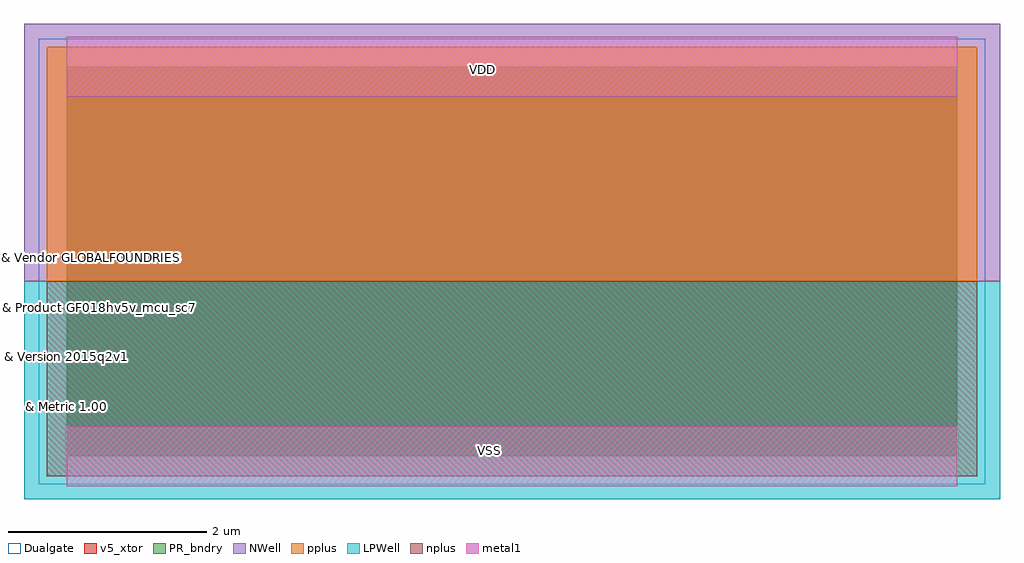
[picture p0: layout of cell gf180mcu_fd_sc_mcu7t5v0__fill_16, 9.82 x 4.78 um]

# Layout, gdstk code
import gdstk
lib = gdstk.Library(unit=1e-6, precision=1e-09)
def R(c, l, rs):  # rectangles x0, y0, x1, y1
    for r in rs: c.add(gdstk.rectangle(r[:2], r[2:], *l))
PR_bndry = (0, 0)
NWell = (21, 0)
pplus = (31, 0)
nplus = (32, 0)
metal1 = (34, 0)
Dualgate = (55, 0)
v5_xtor = (112, 1)
LPWell = (204, 0)

gf180mcu_fd_sc_mcu7t5v0_ = lib.new_cell('gf180mcu_fd_sc_mcu7t5v0__fill_16')
R(gf180mcu_fd_sc_mcu7t5v0_, PR_bndry, [(0,0,8.96,3.92)])
R(gf180mcu_fd_sc_mcu7t5v0_, NWell, [(-0.43,1.76,9.39,4.35)])
R(gf180mcu_fd_sc_mcu7t5v0_, pplus, [(-0.2,1.76,9.16,4.12)])
R(gf180mcu_fd_sc_mcu7t5v0_, nplus, [(-0.2,-0.2,9.16,1.76)])
R(gf180mcu_fd_sc_mcu7t5v0_, metal1, [(0,-0.3,8.96,0.3), (0,3.62,8.96,4.22)])
R(gf180mcu_fd_sc_mcu7t5v0_, Dualgate, [(-0.28,-0.28,9.24,4.2)])
R(gf180mcu_fd_sc_mcu7t5v0_, v5_xtor, [(0,0,8.96,3.92)])
R(gf180mcu_fd_sc_mcu7t5v0_, LPWell, [(-0.43,-0.43,9.39,1.76)])
gf180mcu_fd_sc_mcu7t5v0_.add(gdstk.Label('VDD', (4.18,3.895), layer=34, texttype=10))
gf180mcu_fd_sc_mcu7t5v0_.add(gdstk.Label('VSS', (4.25,0.06), layer=34, texttype=10))
gf180mcu_fd_sc_mcu7t5v0_.add(gdstk.Label('& Vendor GLOBALFOUNDRIES', (0,2), layer=63, texttype=63))
gf180mcu_fd_sc_mcu7t5v0_.add(gdstk.Label('& Product GF018hv5v_mcu_sc7', (0,1.5), layer=63, texttype=63))
gf180mcu_fd_sc_mcu7t5v0_.add(gdstk.Label('& Version 2015q2v1', (0,1), layer=63, texttype=63))
gf180mcu_fd_sc_mcu7t5v0_.add(gdstk.Label('& Metric 1.00', (0,0.5), layer=63, texttype=63))

lib.write_gds('gf180mcu_fd_sc_mcu7t5v0__fill_16.gds')
